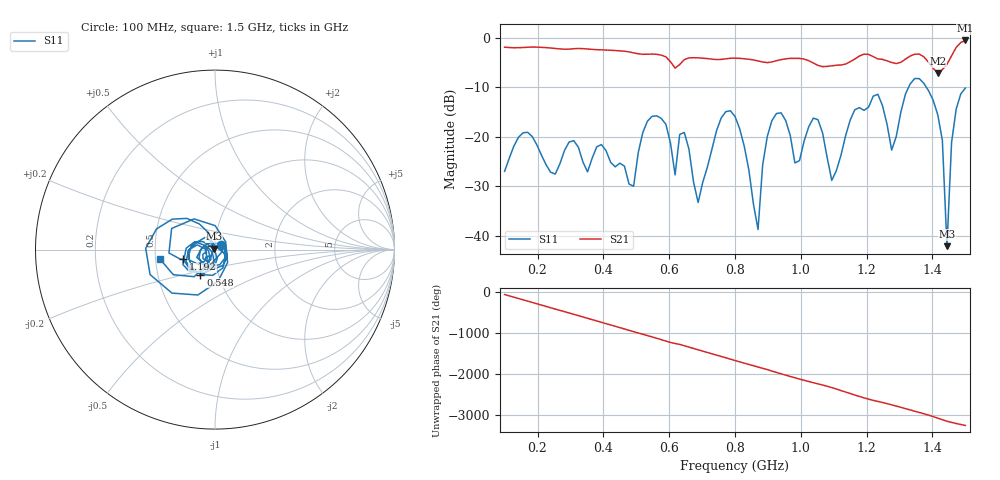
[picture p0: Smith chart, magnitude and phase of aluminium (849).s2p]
! NanoVNA-App
! Date: 2025-09-25 15:01:53
! Start: 100MHz Stop: 1,5GHz Points: 101
! S-Parameter data: F S11 S21 S12 S22
# Hz S RI R 50
!  Frequency  S11_Real  S11_Imag  S21_Real  S21_Imag  S12_Real  S12_Imag  S22_Real  S22_Imag
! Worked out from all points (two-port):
!   101 points, 100 MHz to 1.5 GHz, reference 50 ohm
!   highest |S21| = -0.56 dB at 1.5 GHz (marker M1); lowest = -7.2 dB at 1.416 GHz (marker M2)
!   |S21| within 3 dB of the highest: start of sweep to 577.8 MHz; 1.459 GHz to end of sweep (the widest 2 of 4)
!   lowest |S11| = -42.0 dB at 1.444 GHz (marker M3), VSWR 1.02, Z = 49.4 + j0.548 ohm
!   |S11| at or under -10 dB: start of sweep to 1.327 GHz; 1.381 GHz to end of sweep
!   S12 and S22 are empty: the file has one direction only
!   S11 on the Smith chart (normalised r, x): 100 MHz: 1.07, +0.06; 548 MHz: 0.82, -0.23; 1.192 GHz: 0.70, -0.08; 1.5 GHz: 0.53, -0.06
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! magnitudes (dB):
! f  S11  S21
! 100 MHz  -27.0  -1.9
! 338 MHz  -25.1  -2.2
! 492 MHz  -30.0  -3.1
! 548 MHz  -15.9  -3.3
! 576 MHz  -16.3  -3.5
! 618 MHz  -27.7  -6.1
! 646 MHz  -19.1  -4.4
! 688 MHz  -33.2  -4.1
! 800 MHz  -15.9  -4.1
! 870 MHz  -38.7  -4.7
! 912 MHz  -16.7  -4.9
! 982 MHz  -25.3  -4.2
! 1.038 GHz  -16.2  -5.1
! 1.094 GHz  -28.8  -5.7
! 1.192 GHz  -14.7  -3.3
! 1.276 GHz  -22.7  -5.0
! 1.346 GHz  -8.2  -3.3
! 1.416 GHz  -15.5  -7.2
! 1.43 GHz  -20.7  -6.4
! 1.444 GHz  -42.0  -5.4
! 1.458 GHz  -21.1  -3.7
! 1.5 GHz  -10.2  -0.6
